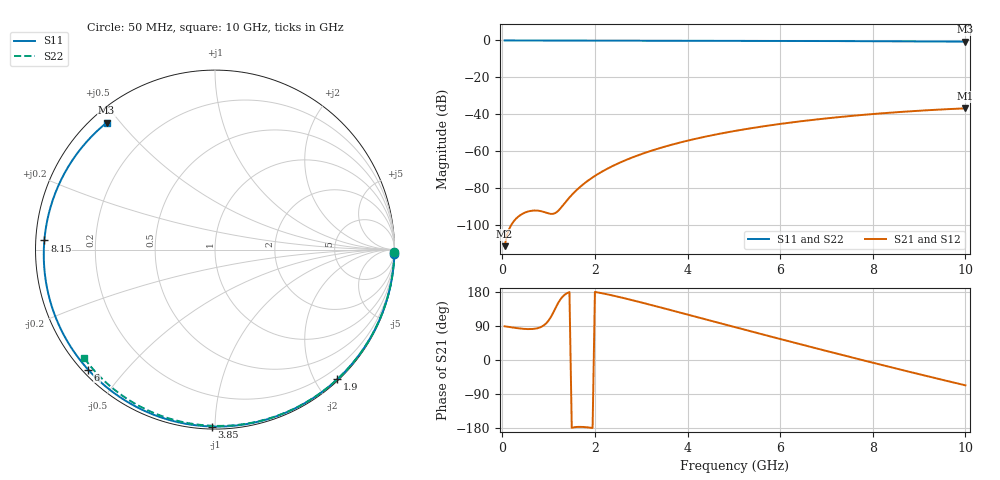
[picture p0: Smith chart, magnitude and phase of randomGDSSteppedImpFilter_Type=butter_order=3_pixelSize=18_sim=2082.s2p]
! freq	dB(S11)	phase(S11)	dB(S12)	phase(S12)
!  dB(S21)	phase(S21)	dB(S22)	phase(S22)
!S-par simulation data
#  GHz  S  DB  R 50
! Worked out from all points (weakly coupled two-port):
!   200 points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, 50 MHz to 10 GHz, reference 50 ohm
!   highest |S21| = -36.76 dB at 10 GHz (marker M1); lowest = -111.4 dB at 50 MHz (marker M2)
!   lowest |S11| = -0.6 dB at 10 GHz (marker M3), VSWR 27.51, Z = 2.2 + j23 ohm
!   |S11| at or under -10 dB: nowhere
!   |S22| runs from -0.5 to 0.0 dB; largest |S21 - S12| = 0
!   S11 on the Smith chart (normalised r, x): 50 MHz: 0, -91; 1.9 GHz: 0.02, -2.32; 3.85 GHz: 0.01, -0.98; 6 GHz: 0.02, -0.40; 8.15 GHz: 0.02, +0.03; 10 GHz: 0.04, +0.46
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0.05  -0.00 -1.3  -111.40 89.0  -111.40 89.0  -0.00 -0.8
0.8  -0.03 -19.9  -92.27 85.4  -92.27 85.4  -0.02 -12.9
1.2  -0.04 -29.7  -92.43 149.1  -92.43 149.1  -0.02 -19.3
1.65  -0.05 -40.6  -79.96 -176.5  -79.96 -176.5  -0.03 -26.5
1.75  -0.05 -43.0  -77.84 -176.7  -77.84 -176.7  -0.04 -28.0
1.9  -0.06 -46.6  -75.02 -178.6  -75.02 -178.6  -0.04 -30.4
2.2  -0.07 -53.7  -70.37 175.0  -70.37 175.0  -0.04 -35.1
2.55  -0.08 -61.9  -66.04 165.5  -66.04 165.5  -0.05 -40.5
2.95  -0.09 -71.0  -62.02 153.5  -62.02 153.5  -0.06 -46.6
3.4  -0.11 -81.1  -58.30 139.3  -58.30 139.3  -0.07 -53.3
3.85  -0.12 -91.0  -55.20 124.8  -55.20 124.8  -0.08 -59.9
4.45  -0.15 -104.0  -51.74 105.3  -51.74 105.3  -0.10 -68.6
5.05  -0.18 -116.7  -48.88 85.9  -48.88 85.9  -0.12 -77.0
6  -0.24 -136.6  -45.21 55.4  -45.21 55.4  -0.16 -89.9
6.7  -0.29 -151.3  -43.02 33.3  -43.02 33.3  -0.19 -99.1
7.45  -0.36 -167.4  -41.07 9.8  -41.07 9.8  -0.24 -108.8
8.15  -0.43 176.9  -39.54 -11.7  -39.54 -11.7  -0.29 -117.5
8.35  -0.45 172.3  -39.16 -17.8  -39.16 -17.8  -0.31 -120.0
8.8  -0.50 161.6  -38.37 -31.4  -38.37 -31.4  -0.35 -125.6
9.2  -0.54 151.7  -37.76 -43.4  -37.76 -43.4  -0.39 -130.5
9.6  -0.59 141.3  -37.22 -55.2  -37.22 -55.2  -0.43 -135.4
10  -0.63 130.5  -36.76 -66.8  -36.76 -66.8  -0.48 -140.3
